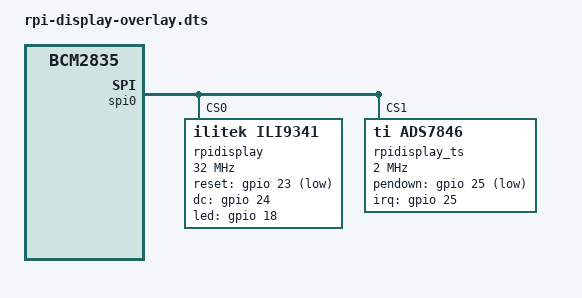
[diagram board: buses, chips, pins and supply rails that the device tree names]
/*
 * Device Tree overlay for rpi-display by Watterott
 *
 */

/dts-v1/;
/plugin/;

/ {
	compatible = "brcm,bcm2835";

	fragment@0 {
		target = <&spi0>;
		__overlay__ {
			status = "okay";
		};
	};

	fragment@1 {
		target = <&spidev0>;
		__overlay__ {
			status = "disabled";
		};
	};

	fragment@2 {
		target = <&spidev1>;
		__overlay__ {
			status = "disabled";
		};
	};

	fragment@3 {
		target = <&gpio>;
		__overlay__ {
			rpi_display_pins: rpi_display_pins {
				brcm,pins = <18 23 24 25>;
				brcm,function = <1 1 1 0>; /* out out out in */
				brcm,pull = <0 0 0 2>; /* - - - up */
			};
		};
	};

	fragment@4 {
		target = <&spi0>;
		__overlay__ {
			/* needed to avoid dtc warning */
			#address-cells = <1>;
			#size-cells = <0>;

			rpidisplay: rpi-display@0{
				compatible = "ilitek,ili9341";
				reg = <0>;
				pinctrl-names = "default";
				pinctrl-0 = <&rpi_display_pins>;

				spi-max-frequency = <32000000>;
				rotate = <270>;
				bgr;
				fps = <30>;
				buswidth = <8>;
				reset-gpios = <&gpio 23 1>;
				dc-gpios = <&gpio 24 0>;
				led-gpios = <&gpio 18 0>;
				debug = <0>;
			};

			rpidisplay_ts: rpi-display-ts@1 {
				compatible = "ti,ads7846";
				reg = <1>;

				spi-max-frequency = <2000000>;
				interrupts = <25 2>; /* high-to-low edge triggered */
				interrupt-parent = <&gpio>;
				pendown-gpio = <&gpio 25 1>;
				ti,x-plate-ohms = /bits/ 16 <60>;
				ti,pressure-max = /bits/ 16 <255>;
			};
		};
	};

	fragment@10 {
		target = <&rpidisplay>;
		__dormant__  {
			backlight = <&backlight_gpio>;
		};
	};

	fragment@11 {
		target-path = "/";
		__dormant__  {
			backlight_gpio: backlight_gpio {
				compatible = "gpio-backlight";
				gpios = <&gpio 18 0>; /* GPIO_ACTIVE_HIGH */
			};
		};
	};

	fragment@20 {
		target = <&rpidisplay>;
		__dormant__  {
			backlight = <&backlight_pwm>;
		};
	};

	fragment@21 {
		target-path = "/";
		__dormant__  {
			backlight_pwm: backlight_pwm {
				compatible = "pwm-backlight";
				brightness-levels = <0 6 8 12 16 24 32 40 48 64 96 128 160 192 224 255>;
				default-brightness-level = <16>;
				pwms = <&pwm 0 200000>;
			};
		};
	};

	fragment@22 {
		target = <&pwm>;
		__dormant__ {
			assigned-clock-rates = <1000000>;
			status = "okay";
		};
	};

	fragment@23 {
		target = <&audio>;
		__dormant__  {
		    brcm,disable-headphones;
		};
	};

	__overrides__ {
		speed =     <&rpidisplay>,"spi-max-frequency:0";
		rotate =    <&rpidisplay>,"rotate:0", /* fbtft */
			    <&rpidisplay>,"rotation:0"; /* drm */
		fps =       <&rpidisplay>,"fps:0";
		debug =     <&rpidisplay>,"debug:0";
		xohms =     <&rpidisplay_ts>,"ti,x-plate-ohms;0";
		swapxy =    <&rpidisplay_ts>,"ti,swap-xy?";
		backlight = <&rpidisplay>,"led-gpios:4",
		            <&rpi_display_pins>,"brcm,pins:0";
		drm =       <&rpidisplay>, "compatible=multi-inno,mi0283qt",
			    <&rpidisplay>, "spi-max-frequency:0=70000000",
			    <&rpidisplay>, "reset-gpios:8=0", /* GPIO_ACTIVE_HIGH */
			    <0>, "+10+11";
		backlight-pwm = <0>, "-10-11+20+21+22+23",
				<&rpi_display_pins>, "brcm,function:0=2"; /* Alt5 */
	};
};
